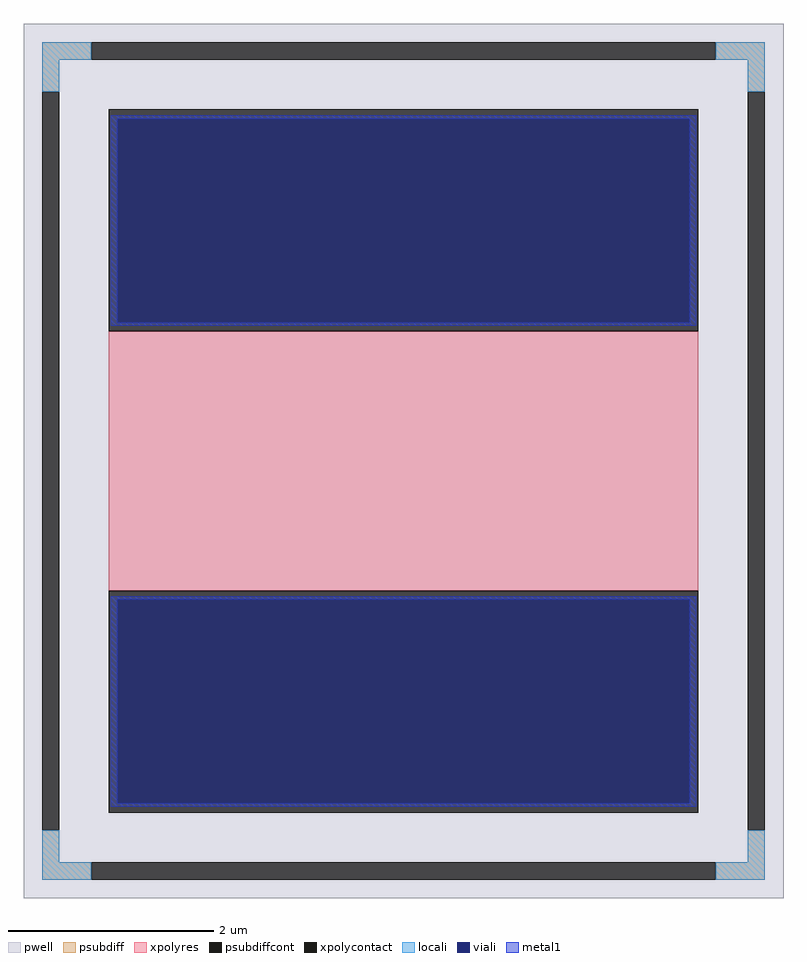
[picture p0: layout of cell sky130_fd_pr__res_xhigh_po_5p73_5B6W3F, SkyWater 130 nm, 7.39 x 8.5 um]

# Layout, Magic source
magic
tech sky130A
magscale 1 2
<< pwell >>
rect -739 -850 739 850
<< psubdiff >>
rect -703 780 -607 814
rect 607 780 703 814
rect -703 718 -669 780
rect 669 718 703 780
rect -703 -780 -669 -718
rect 669 -780 703 -718
rect -703 -814 -607 -780
rect 607 -814 703 -780
<< psubdiffcont >>
rect -607 780 607 814
rect -703 -718 -669 718
rect 669 -718 703 718
rect -607 -814 607 -780
<< xpolycontact >>
rect -573 252 573 684
rect -573 -684 573 -252
<< xpolyres >>
rect -573 -252 573 252
<< locali >>
rect -703 780 -607 814
rect 607 780 703 814
rect -703 718 -669 780
rect 669 718 703 780
rect -703 -780 -669 -718
rect 669 -780 703 -718
rect -703 -814 -607 -780
rect 607 -814 703 -780
<< viali >>
rect -557 269 557 666
rect -557 -666 557 -269
<< metal1 >>
rect -569 666 569 672
rect -569 269 -557 666
rect 557 269 569 666
rect -569 263 569 269
rect -569 -269 569 -263
rect -569 -666 -557 -269
rect 557 -666 569 -269
rect -569 -672 569 -666
<< properties >>
string FIXED_BBOX -686 -797 686 797
string gencell sky130_fd_pr__res_xhigh_po_5p73
string library sky130
string parameters w 5.73 l 2.677 m 1 nx 1 wmin 5.730 lmin 0.50 rho 2000 val 1.0k dummy 0 dw 0.0 term 188.2 sterm 0.0 caplen 0 wmax 5.730 guard 1 glc 1 grc 1 gtc 1 gbc 1 compatible {sky130_fd_pr__res_xhigh_po_0p35  sky130_fd_pr__res_xhigh_po_0p69 sky130_fd_pr__res_xhigh_po_1p41  sky130_fd_pr__res_xhigh_po_2p85 sky130_fd_pr__res_xhigh_po_5p73} snake 0 full_metal 1 n_guard 0 hv_guard 0 vias 1 viagb 0 viagt 0 viagl 0 viagr 0
<< end >>
